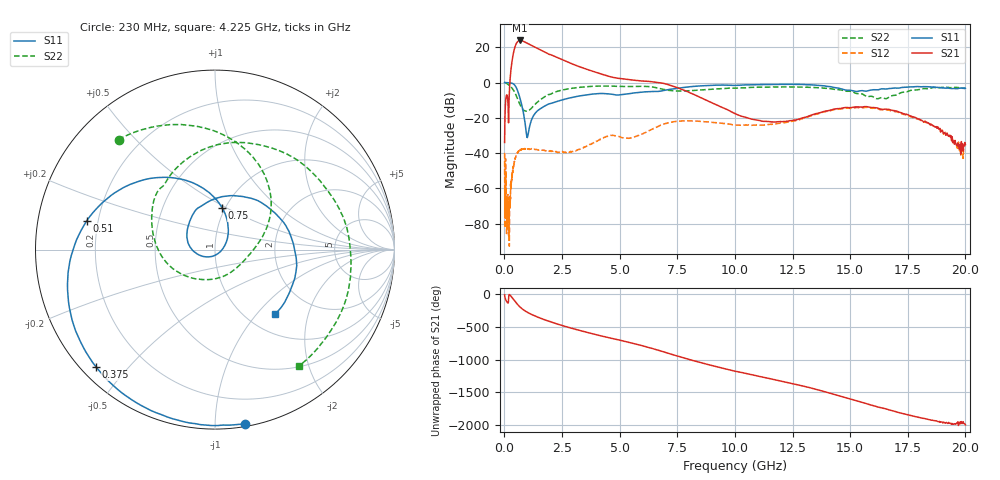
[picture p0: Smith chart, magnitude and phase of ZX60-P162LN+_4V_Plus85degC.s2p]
!Mini-Circuits Laboratory
!S-Parameters
!Model: ZX60-P162LN+
!Run / Lot / Date Code: E114703 /  / NA
!Fixture:
!Network Analyzer: ;  Serial number: 71013
!Date: 12/21/2011 at 12:41:37 PM
!S/N: Unit3
!Tested with:
# Hz  S  dB  R  50
!Frequency  S11 dB  S11 Deg  S21 dB  S21 Deg  S12 dB  S12 Deg  S22 dB  S22 Deg
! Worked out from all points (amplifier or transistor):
!   959 points, 10 MHz to 20 GHz, reference 50 ohm
!   highest |S21| = 23.9 dB at 685 MHz (marker M1)
!   |S21| within 3 dB of that: 477.2 MHz to 1.204 GHz (726.3 MHz wide, 86.4 % of centre)
!   unconditionally stable (mu >= 1): 24.09 MHz to 25.12 MHz; 34.32 MHz to 43.04 MHz; 63.59 MHz to end of sweep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
!   at 805 MHz: K = 2.50, MAG = 23.7 dB, |S12| = -37.6 dB
!   at 8.025 GHz: K = 2.89, MAG = 0.6 dB, |S12| = -21.7 dB
!   at 20 GHz: K = 462.53, MAG = -29.5 dB, |S12| = -35.5 dB
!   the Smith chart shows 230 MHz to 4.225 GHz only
!   S11 on the Smith chart (normalised r, x): 230 MHz: 0.02, -1.19; 375 MHz: 0.04, -0.41; 510 MHz: 0.16, +0.11; 750 MHz: 0.97, +0.48; 4.225 GHz: 1.33, -1.26
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1e7  0.06 -3.0  -34.00 -9.9  -39.90 153.5  -0.07 -36.0
2.3e8  -0.14 -80.1  -1.73 -9.4  -68.20 -136.7  -1.77 131.3
3.75e8  -0.62 -135.3  15.54 -68.4  -49.70 178.3  -3.93 84.7
4.5e8  -1.47 -166.8  19.79 -102.3  -44.50 149.2  -5.60 61.4
5.1e8  -2.71 167.2  21.96 -129.4  -41.40 128.1  -7.27 44.3
6e8  -5.60 130.5  23.54 -167.3  -39.01 95.6  -10.16 22.5
6.85e8  -9.23 100.5  23.90 162.2  -38.14 73.3  -12.68 5.2
7.5e8  -12.53 80.3  23.77 142.2  -37.95 58.5  -14.27 -8.4
8.45e8  -18.58 51.2  23.30 117.1  -37.54 38.8  -15.79 -31.8
9.6e8  -29.35 -13.8  22.55 91.5  -37.61 20.9  -16.22 -63.0
1.15e9  -22.25 -150.7  21.27 56.0  -37.80 -1.4  -14.86 -112.5
1.35e9  -17.19 174.9  19.92 24.0  -37.93 -20.6  -12.10 -151.7
1.7e9  -13.72 134.2  17.68 -24.9  -38.29 -48.3  -8.46 158.7
2.05e9  -11.70 103.5  15.61 -66.9  -38.90 -67.8  -6.26 120.1
2.625e9  -9.45 60.3  12.31 -131.1  -39.44 -91.7  -3.92 65.6
3.35e9  -7.40 12.1  8.57 158.4  -37.35 -113.0  -2.56 9.2
4.225e9  -6.17 -46.9  4.77 80.2  -31.93 -160.2  -1.96 -54.1
6.675e9  -5.03 142.1  0.01 -135.5  -24.79 47.8  -3.20 96.8
1.0025e10  -1.60 -130.7  -17.74 -98.2  -24.12 139.8  -3.19 -166.9
1.335e10  -1.37 28.2  -18.32 1.7  -18.68 -51.8  -2.76 37.3
1.6675e10  -3.41 82.8  -15.20 32.8  -15.57 12.4  -8.40 112.9
2e10  -3.26 -68.5  -35.17 163.5  -35.53 149.4  -3.10 -127.0
